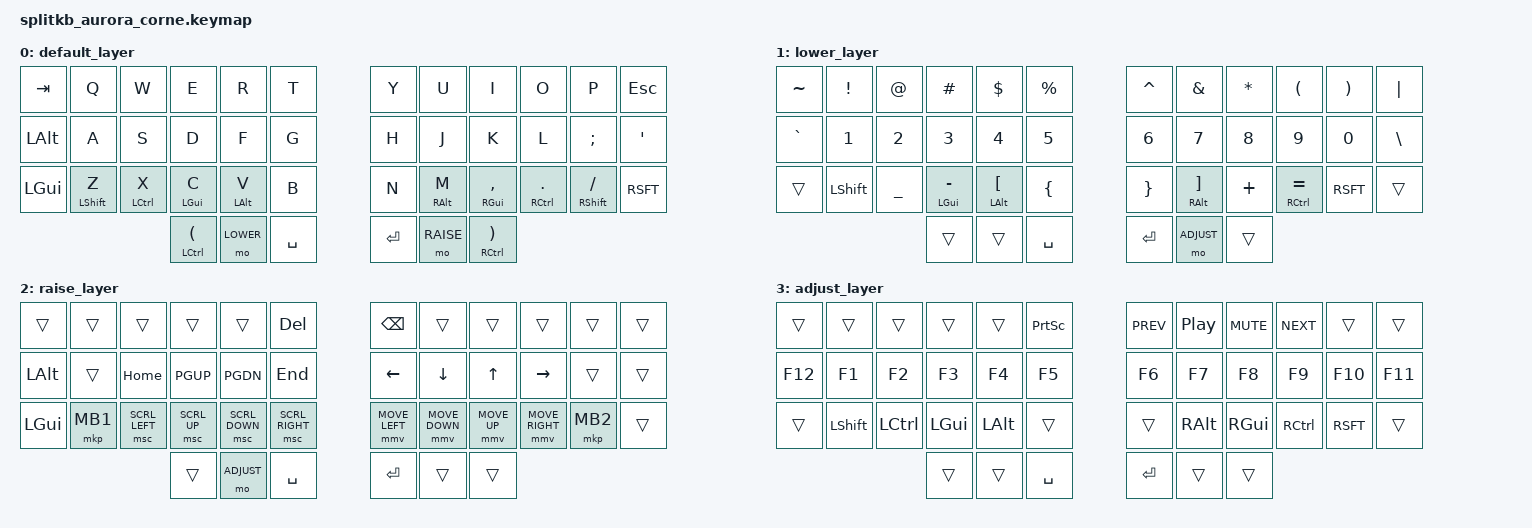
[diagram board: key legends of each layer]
/*
 * Copyright (c) 2020 The ZMK Contributors
 *
 * SPDX-License-Identifier: MIT
 */

#include <behaviors.dtsi>
#include <dt-bindings/zmk/keys.h>
#include <dt-bindings/zmk/bt.h>
#include <dt-bindings/zmk/mouse.h>

#define DEFAULT 0
#define LOWER   1
#define RAISE   2
#define ADJUST  3

/ {
    keymap {
        compatible = "zmk,keymap";

        default_layer {
            bindings = <
  //,-----------------------------------------------------------------------------------------------------------.                                      ,-----------------------------------------------------------------------------------------------------------.
     &kp TAB           &kp Q             &kp W             &kp E             &kp R             &kp T                                                    &kp Y             &kp U             &kp I             &kp O             &kp P             &kp ESC
  //|-----------------+-----------------+-----------------+-----------------+-----------------+-----------------|                                      |-----------------+-----------------+-----------------+-----------------+-----------------+-----------------|
     &kp LALT          &kp A             &kp S             &kp D             &kp F             &kp G                                                    &kp H             &kp J             &kp K             &kp L             &kp SEMI          &kp SQT
  //|-----------------+-----------------+-----------------+-----------------+-----------------+-----------------|                                      |-----------------+-----------------+-----------------+-----------------+-----------------+-----------------|
     &kp LGUI          &mt LSHFT Z       &mt LCTRL X       &mt LGUI C        &mt LALT V        &kp B                                                    &kp N             &mt RALT M        &mt RGUI COMMA    &mt RCTRL DOT     &mt RSHFT FSLH    &kp RSFT
  //|-----------------+-----------------+-----------------+-----------------+-----------------+-----------------+-----------------|  |-----------------+-----------------+-----------------+-----------------+-----------------+-----------------+-----------------|
                                                                            &mt LCTRL LPAR    &mo LOWER         &kp SPACE            &kp ENTER         &mo RAISE         &mt RCTRL RPAR
                                                                          //`-----------------------------------------------------'  `-----------------------------------------------------'
            >;
        };

        lower_layer {
            bindings = <
  //,-----------------------------------------------------------------------------------------------------------.                                      ,-----------------------------------------------------------------------------------------------------------.
     &kp TILDE         &kp EXCL          &kp AT            &kp HASH          &kp DLLR          &kp PRCNT                                                &kp CARET         &kp AMPS          &kp ASTRK         &kp LPAR          &kp RPAR          &kp PIPE
  //|-----------------+-----------------+-----------------+-----------------+-----------------+-----------------|                                      |-----------------+-----------------+-----------------+-----------------+-----------------+-----------------|
     &kp GRAVE         &kp N1            &kp N2             &kp N3            &kp N4            &kp N5                                                   &kp N6            &kp N7            &kp N8            &kp N9            &kp N0            &kp BSLH
  //|-----------------+-----------------+-----------------+-----------------+-----------------+-----------------|                                      |-----------------+-----------------+-----------------+-----------------+-----------------+-----------------|
     &trans            &kp LSHFT         &kp UNDER         &mt LGUI MINUS    &mt LALT LBKT     &kp LBRC                                                 &kp RBRC          &mt RALT RBKT     &kp PLUS          &mt RCTRL EQUAL   &kp RSFT          &trans
  //|-----------------+-----------------+-----------------+-----------------+-----------------+-----------------+-----------------|  |-----------------+-----------------+-----------------+-----------------+-----------------+-----------------+-----------------|
                                                                             &trans            &trans            &kp SPACE            &kp ENTER         &mo ADJUST        &trans
                                                                          //`-----------------------------------------------------'  `-----------------------------------------------------'
            >;
        };

        raise_layer {
            bindings = <
  //,-----------------------------------------------------------------------------------------------------------.                                      ,-----------------------------------------------------------------------------------------------------------.
     &trans            &trans            &trans            &trans            &trans            &kp DEL                                                  &kp BSPC          &trans            &trans            &trans            &trans            &trans
  //|-----------------+-----------------+-----------------+-----------------+-----------------+-----------------|                                      |-----------------+-----------------+-----------------+-----------------+-----------------+-----------------|
     &kp LALT          &trans            &kp HOME          &kp PGUP          &kp PGDN          &kp END                                                  &kp LEFT          &kp DOWN          &kp UP            &kp RIGHT         &trans            &trans
  //|-----------------+-----------------+-----------------+-----------------+-----------------+-----------------|                                      |-----------------+-----------------+-----------------+-----------------+-----------------+-----------------|
     &kp LGUI          &mkp MB1          &msc SCRL_LEFT    &msc SCRL_UP      &msc SCRL_DOWN    &msc SCRL_RIGHT                                          &mmv MOVE_LEFT    &mmv MOVE_DOWN    &mmv MOVE_UP      &mmv MOVE_RIGHT   &mkp MB2          &trans
  //|-----------------+-----------------+-----------------+-----------------+-----------------+-----------------+-----------------|  |-----------------+-----------------+-----------------+-----------------+-----------------+-----------------+-----------------|
                                                                             &trans            &mo ADJUST        &kp SPACE            &kp ENTER         &trans            &trans
                                                                          //`-----------------------------------------------------'  `-----------------------------------------------------'
            >;
        };

        adjust_layer {
            bindings = <
  //,-----------------------------------------------------------------------------------------------------------.                                      ,-----------------------------------------------------------------------------------------------------------.
     &trans            &trans            &trans            &trans            &trans            &kp PSCRN                                                &kp C_PREV        &kp C_PP          &kp C_MUTE        &kp C_NEXT        &trans            &trans
  //|-----------------+-----------------+-----------------+-----------------+-----------------+-----------------|                                      |-----------------+-----------------+-----------------+-----------------+-----------------+-----------------|
     &kp F12           &kp F1            &kp F2            &kp F3            &kp F4            &kp F5                                                   &kp F6            &kp F7            &kp F8            &kp F9            &kp F10           &kp F11
  //|-----------------+-----------------+-----------------+-----------------+-----------------+-----------------|                                      |-----------------+-----------------+-----------------+-----------------+-----------------+-----------------|
     &trans            &kp LSHFT         &kp LCTRL         &kp LGUI          &kp LALT          &trans                                                   &trans            &kp RALT          &kp RGUI          &kp RCTRL         &kp RSFT          &trans
  //|-----------------+-----------------+-----------------+-----------------+-----------------+-----------------+-----------------|  |-----------------+-----------------+-----------------+-----------------+-----------------+-----------------+-----------------|
                                                                             &trans            &trans            &kp SPACE            &kp ENTER          &trans            &trans
                                                                          //`-----------------------------------------------------'  `-----------------------------------------------------'
            >;
        };
    };
};

&nice_view_spi {
    cs-gpios = <&gpio0 8 GPIO_ACTIVE_HIGH>;
};
